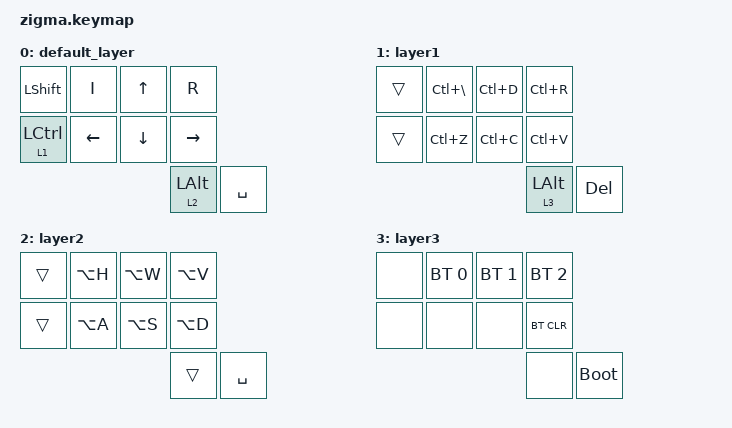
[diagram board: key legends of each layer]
#include <behaviors.dtsi>
#include <dt-bindings/zmk/bt.h>
#include <dt-bindings/zmk/keys.h>

/ {
    keymap {
        compatible = "zmk,keymap";

        default_layer {
            bindings = <
                &kp LSHIFT      &kp I           &kp UP          &kp R
                &lt 1 LCTRL     &kp LEFT        &kp DOWN        &kp RIGHT
                                                                &lt 2 LALT      &kp SPACE
            >;
        };

        layer1 {
            bindings = <
                &trans          &kp LC(BSLH)    &kp LC(D)       &kp LC(R)
                &trans          &kp LC(Z)       &kp LC(C)       &kp LC(V)
                                                                &lt 3 LALT      &kp DEL
            >;
        };

        layer2 {
            bindings = <
                &trans          &kp LA(H)       &kp LA(W)       &kp LA(V)
                &trans          &kp LA(A)       &kp LA(S)       &kp LA(D)
                                                                &trans          &kp SPACE
            >;
        };

        layer3 {
            bindings = <
                &none           &bt BT_SEL 0    &bt BT_SEL 1    &bt BT_SEL 2
                &none           &none           &none           &bt BT_CLR
                                                                &none           &bootloader
            >;
        };
    };
};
